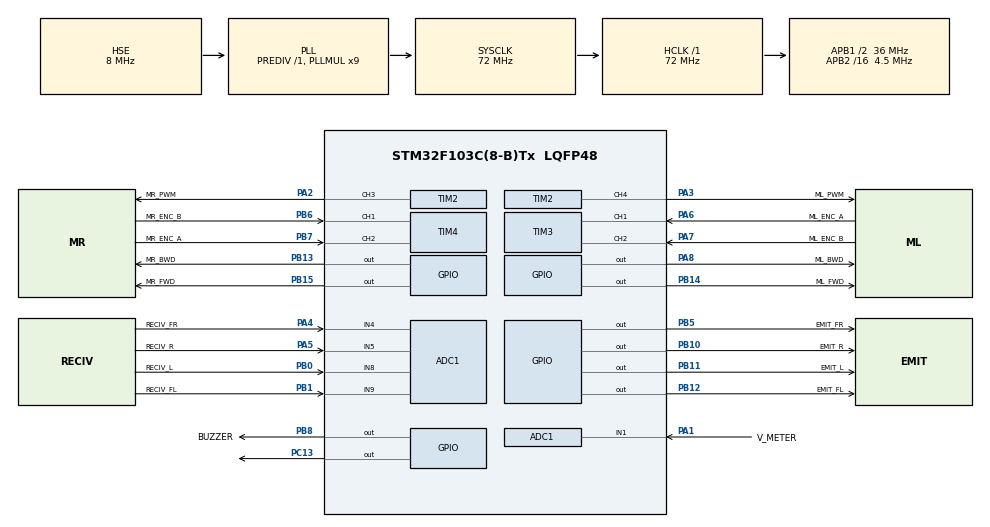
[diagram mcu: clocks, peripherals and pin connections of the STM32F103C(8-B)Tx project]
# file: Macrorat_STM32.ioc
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ADC1.Channel-0\#ChannelRegularConversion=ADC_CHANNEL_9
ADC1.NbrOfConversionFlag=1
ADC1.Rank-0\#ChannelRegularConversion=1
ADC1.SamplingTime-0\#ChannelRegularConversion=ADC_SAMPLETIME_1CYCLE_5
ADC1.master=1
Mcu.Family=STM32F1
Mcu.Name=STM32F103C(8-B)Tx
Mcu.Package=LQFP48
NVIC.PriorityGroup=NVIC_PRIORITYGROUP_4
NVIC.TIM2_IRQn=true\:15\:0\:true\:false\:true\:true\:true\:true
NVIC.TIM3_IRQn=true\:0\:0\:true\:false\:true\:true\:true\:true
NVIC.TIM4_IRQn=true\:0\:0\:true\:false\:true\:true\:true\:true
PA1.GPIO_Label=V_METER
PA1.Signal=ADCx_IN1
PA13.Mode=Serial_Wire
PA13.Signal=SYS_JTMS-SWDIO
PA14.Mode=Serial_Wire
PA14.Signal=SYS_JTCK-SWCLK
PA2.GPIO_Label=MR_PWM
PA2.Signal=S_TIM2_CH3
PA3.GPIO_Label=ML_PWM
PA3.Signal=S_TIM2_CH4
PA4.GPIO_Label=RECIV_FR
PA4.Signal=ADCx_IN4
PA5.GPIO_Label=RECIV_R
PA5.Signal=ADCx_IN5
PA6.GPIO_Label=ML_ENC_A
PA6.Signal=S_TIM3_CH1
PA7.GPIO_Label=ML_ENC_B
PA7.Signal=S_TIM3_CH2
PA8.GPIO_Label=ML_BWD
PA8.Signal=GPIO_Output
PB0.GPIO_Label=RECIV_L
PB0.Signal=ADCx_IN8
PB1.GPIO_Label=RECIV_FL
PB1.Signal=ADCx_IN9
PB10.GPIO_Label=EMIT_R
PB10.Signal=GPIO_Output
PB11.GPIO_Label=EMIT_L
PB11.Signal=GPIO_Output
PB12.GPIO_Label=EMIT_FL
PB12.Signal=GPIO_Output
PB13.GPIO_Label=MR_BWD
PB13.Signal=GPIO_Output
PB14.GPIO_Label=ML_FWD
PB14.Signal=GPIO_Output
PB15.GPIO_Label=MR_FWD
PB15.Signal=GPIO_Output
PB5.GPIO_Label=EMIT_FR
PB5.Signal=GPIO_Output
PB6.GPIO_Label=MR_ENC_B
PB6.Signal=S_TIM4_CH1
PB7.GPIO_Label=MR_ENC_A
PB7.Signal=S_TIM4_CH2
PB8.GPIO_Label=BUZZER
PB8.Signal=GPIO_Output
PC13-TAMPER-RTC.Signal=GPIO_Output
PD0-OSC_IN.Mode=HSE-External-Oscillator
PD0-OSC_IN.Signal=RCC_OSC_IN
PD1-OSC_OUT.Mode=HSE-External-Oscillator
PD1-OSC_OUT.Signal=RCC_OSC_OUT
ProjectManager.HeapSize=0x200
ProjectManager.StackSize=0x400
ProjectManager.TargetToolchain=STM32CubeIDE
RCC.AHBFreq_Value=72000000
RCC.APB1CLKDivider=RCC_HCLK_DIV2
RCC.APB1Freq_Value=36000000
RCC.APB1TimFreq_Value=72000000
RCC.APB2CLKDivider=RCC_HCLK_DIV16
RCC.APB2Freq_Value=4500000
RCC.APB2TimFreq_Value=9000000
RCC.HCLKFreq_Value=72000000
RCC.PLLMUL=RCC_PLL_MUL9
RCC.PLLSourceVirtual=RCC_PLLSOURCE_HSE
RCC.SYSCLKFreq_VALUE=72000000
RCC.SYSCLKSource=RCC_SYSCLKSOURCE_PLLCLK
RCC.USBFreq_Value=72000000
SH.ADCx_IN1.0=ADC1_IN1,IN1
SH.ADCx_IN4.0=ADC1_IN4,IN4
SH.ADCx_IN5.0=ADC1_IN5,IN5
SH.ADCx_IN8.0=ADC1_IN8,IN8
SH.ADCx_IN9.0=ADC1_IN9,IN9
SH.S_TIM2_CH3.0=TIM2_CH3,PWM Generation3 CH3
SH.S_TIM2_CH4.0=TIM2_CH4,PWM Generation4 CH4
SH.S_TIM3_CH1.0=TIM3_CH1,Encoder_Interface
SH.S_TIM3_CH2.0=TIM3_CH2,Encoder_Interface
SH.S_TIM4_CH1.0=TIM4_CH1,Encoder_Interface
SH.S_TIM4_CH2.0=TIM4_CH2,Encoder_Interface
TIM2.AutoReloadPreload=TIM_AUTORELOAD_PRELOAD_ENABLE
TIM2.Channel-PWM\ Generation3\ CH3=TIM_CHANNEL_3
TIM2.Channel-PWM\ Generation4\ CH4=TIM_CHANNEL_4
TIM2.Period=1000
TIM2.Prescaler=72
TIM2.Pulse-PWM\ Generation3\ CH3=1024
TIM2.Pulse-PWM\ Generation4\ CH4=1024
TIM3.EncoderMode=TIM_ENCODERMODE_TI12
TIM3.IC1Polarity=TIM_ICPOLARITY_FALLING
TIM3.IC2Polarity=TIM_ICPOLARITY_FALLING
TIM4.EncoderMode=TIM_ENCODERMODE_TI12
TIM4.IC1Polarity=TIM_ICPOLARITY_FALLING
TIM4.IC2Polarity=TIM_ICPOLARITY_FALLING
VP_TIM2_VS_ClockSourceINT.Mode=Internal
board=custom

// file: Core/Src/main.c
/* USER CODE BEGIN Header */
/**
  ******************************************************************************
  * @file           : main.c
  * @brief          : Main program body
  ******************************************************************************
  * @attention
  *
  * Copyright (c) 2023 STMicroelectronics.
  * All rights reserved.
  *
  * This software is licensed under terms that can be found in the LICENSE file
  * in the root directory of this software component.
  * If no LICENSE file comes with this software, it is provided AS-IS.
  *
  ******************************************************************************
  */
/* USER CODE END Header */
#include "main.h"

/* USER CODE BEGIN Includes */
#include <math.h>
#include <stdio.h>
#include <stdlib.h>
#include <string.h>
/* USER CODE END Includes */

/* USER CODE BEGIN PTD */
typedef enum {
	FL,
	L,
	R,
	FR
} dist_t;

typedef enum {
	stopped,
	forward,
	turn_L,
	turn_R,
	turn_180
} move_t;
/* USER CODE END PTD */

/* USER CODE BEGIN PD */
#define diameter 40		// wheel diameter
#define RW 41			// radius from center to wheel
#define v_ratio 0.00082
#define max_v_batt 8.10
#define kickstart_v 0.8
#define callback_period 0.001
#define intended_speed 180.0

#define K_fwd 0.1
#define K_rot 0.004
#define K_turn 0.01
#define K_str 0.0004

#define loop_period 1

/* USER CODE END PD */

ADC_HandleTypeDef hadc1;

TIM_HandleTypeDef htim2;
TIM_HandleTypeDef htim3;
TIM_HandleTypeDef htim4;

/* USER CODE BEGIN PV */
uint16_t IR_dists[4] = {0};
uint16_t IR_data[4][15] = {{0}};
uint16_t wall_standard[4] = {2500, 1040, 1030, 2590};
uint16_t wall_nominal[4] = {200, 100, 100, 200};

int wall_left;
int wall_right;
int wall_front_L;
int wall_front_R;

int32_t enc_left = 0;
int32_t enc_right = 0;
int32_t initial_enc_left = 0;
int32_t initial_enc_right = 0;

int32_t d_L = 0;
int32_t d_R = 0;
int32_t d_center = 0;	// center distance
int32_t prev_d_center = 0;
int32_t prev_cell_distance = 0;

int32_t fwd_error = 0;
int32_t rot_error = 0;
int32_t str_error = 0;
int32_t left_side_error = 0;
int32_t right_side_error = 0;

int32_t angle = 0;
int32_t initial_angle = 0;
uint16_t raw_count_left = 0;
uint16_t raw_count_right = 0;
uint16_t prev_count_left = 0;
uint16_t prev_count_right = 0;
int motorL = 0;
int motorR = 0;

// this change better register
const float base_v_fwd_L = 0.5;
const float base_v_fwd_R = 0;
const float base_v_turn_L = 0.7;//0.48;
const float base_v_turn_R = 0.81;//0.82;
//const float base_v_turn = 1.5;
int fwd_movement = 0;
int enc_right_mvt = 0;
int enc_left_mvt = 0;

int new_PWM = 0;
float new_v_motor_L = 0;
float new_v_motor_R = 0;
int motor_PWM = 0;
int x = 0;
int y = 0;
int z = 0;

uint16_t battery_reading = 0;
float v_batt = 0;
float initial_v_batt = 0;

int intended_distance = intended_speed * callback_period;
int time_count = 0;

int intended_angle = 0;

move_t movement = stopped;

// const int K_fwd = ?;
// testing to merge into main here
// hello Github
/* USER CODE END PV */

void SystemClock_Config(void);
static void MX_GPIO_Init(void);
static void MX_TIM2_Init(void);
static void MX_ADC1_Init(void);
static void MX_TIM3_Init(void);
static void MX_TIM4_Init(void);
/* USER CODE BEGIN PFP */
static void ADC1_Select_CH1(void);
static void ADC1_Select_CH4(void);
static void ADC1_Select_CH5(void);
static void ADC1_Select_CH8(void);
static void ADC1_Select_CH9(void);
/* USER CODE END PFP */

/* USER CODE BEGIN 0 */
uint16_t measure_dist(dist_t dist) {
	GPIO_TypeDef* emitter_port;
	uint16_t emitter_pin;
	GPIO_TypeDef* receiver_port;
	uint16_t receiver_pin;

	switch(dist) {
		case FL:
			emitter_port = EMIT_FL_GPIO_Port;
			emitter_pin = EMIT_FL_Pin;
			receiver_port = RECIV_FL_GPIO_Port;
			receiver_pin = RECIV_FL_Pin;
			ADC1_Select_CH9();
			break;
		case L:
			emitter_port = EMIT_L_GPIO_Port;
			emitter_pin = EMIT_L_Pin;
			receiver_port = RECIV_L_GPIO_Port;
			receiver_pin = RECIV_L_Pin;
			ADC1_Select_CH8();
			break;
		case R:
			emitter_port = EMIT_R_GPIO_Port;
			emitter_pin = EMIT_R_Pin;
			receiver_port = RECIV_R_GPIO_Port;
			receiver_pin = RECIV_R_Pin;
			ADC1_Select_CH5();
			break;
		case FR:
			emitter_port = EMIT_FR_GPIO_Port;
			emitter_pin = EMIT_FR_Pin;
			receiver_port = RECIV_FR_GPIO_Port;
			receiver_pin = RECIV_FR_Pin;
			ADC1_Select_CH4();
			break;
		default:
			break;
	}

	HAL_GPIO_WritePin(emitter_port, emitter_pin, GPIO_PIN_SET);
//	HAL_Delay(5);

	HAL_ADC_Start(&hadc1);
	HAL_ADC_PollForConversion(&hadc1, HAL_MAX_DELAY);
	uint16_t adc_val = HAL_ADC_GetValue(&hadc1);
	HAL_ADC_Stop(&hadc1);

	HAL_GPIO_WritePin(emitter_port, emitter_pin, GPIO_PIN_RESET);

	return adc_val;
}

uint16_t scaled_average(dist_t sensor)	// dist tells us which sensor's distance we are measuring
{
	static int IR_index = 0;

	IR_data[sensor][IR_index] = measure_dist(sensor); // puts newest distance into array

	int sum = 0;

	for (int i = 0; i < 15; i++)
	{
		sum += IR_data[sensor][i];
	}

	IR_index = (IR_index + 1) % 15;

	return (sum / 15.0) * (wall_nominal[sensor] / (float)(wall_standard[sensor]));
}

float calc_v_batt()
{
	ADC1_Select_CH1();

	HAL_ADC_Start(&hadc1);
	HAL_ADC_PollForConversion(&hadc1, HAL_MAX_DELAY);
	battery_reading = HAL_ADC_GetValue(&hadc1);
	HAL_ADC_Stop(&hadc1);

	// multiply by ratio to convert to V, then multiply by 3
    return battery_reading * v_ratio * 3;
    //return adc_val;//battery scale = 1206
//	v_meter = measure_battery(BATTERY);
//	fl_v_meter = (float)(v_meter)/1206;
//	fl_batt_volt = (float)(v_meter*3)/1206;
    //batt volt obtained through voltage division

}

int calc_PWM(float voltage)
{
	v_batt = calc_v_batt();
	return (voltage/v_batt)*2047;
}

int calc_distance()
{
	return (d_L + d_R)/2;
}

int calc_angle()
{
	return (int)((d_R - d_L)/(2.0 * RW) * (180.0/M_PI));
}

void HAL_TIM_IC_CaptureCallback(TIM_HandleTypeDef *htim) {
	// this is the left encoder timer
	if (htim->Instance == TIM3) {
		//enc_left = __HAL_TIM_GET_COUNTER(htim);
		raw_count_left = __HAL_TIM_GET_COUNTER(htim);
		enc_left -= (int16_t)(raw_count_left - prev_count_left);
		d_L = (enc_left / 360.0) * (M_PI * diameter);
		d_center = calc_distance();	// updates distance whenever d_L changes
		angle = calc_angle();

		prev_count_left = raw_count_left;
	}
	if (htim->Instance == TIM4) {
		//enc_right = __HAL_TIM_GET_COUNTER(htim);
		raw_count_right = __HAL_TIM_GET_COUNTER(htim);
		enc_right -= (int16_t)(raw_count_right - prev_count_right);
		d_R = (enc_right / 360.0) * (M_PI * diameter);
		d_center = calc_distance();
		angle = calc_angle();

		prev_count_right = raw_count_right;
	}
}

void IR_scan()
{
	dist_t sensor = FL;

	do
	{
		IR_dists[sensor] = scaled_average(sensor);
		sensor = (sensor + 1) % 4;
	} while (sensor != FL);
}

int wallCheck(dist_t sensor)
{
	if (IR_dists[sensor] > 0.5 * wall_nominal[sensor])
	{
		return 1;
	}
	else
	{
		return 0;
	}
}

float within_bounds(float f)
{
	if (f < 0)
	{
		return 0;
	}
	else if (f > 1.5)
	{
		return 1.5;
	}
	else
	{
		return f;
	}
}

void kickstart_motors()
{
	motor_PWM = calc_PWM(kickstart_v);

	TIM2->CCR4 = motor_PWM;
	TIM2->CCR3 = motor_PWM;

	HAL_GPIO_WritePin(ML_FWD_GPIO_Port, ML_FWD_Pin, 1);
	HAL_GPIO_WritePin(ML_BWD_GPIO_Port, ML_BWD_Pin, 0);
	HAL_GPIO_WritePin(MR_FWD_GPIO_Port, MR_FWD_Pin, 0);
	HAL_GPIO_WritePin(MR_BWD_GPIO_Port, MR_BWD_Pin, 0);

	HAL_Delay(50);
}

void stop()
{
	movement = stopped;

	// set both motors to stop
	HAL_GPIO_WritePin(ML_FWD_GPIO_Port, ML_FWD_Pin, 0);
	HAL_GPIO_WritePin(ML_BWD_GPIO_Port, ML_BWD_Pin, 0);
	HAL_GPIO_WritePin(MR_FWD_GPIO_Port, MR_FWD_Pin, 0);
	HAL_GPIO_WritePin(MR_BWD_GPIO_Port, MR_BWD_Pin, 0);

	TIM2->CCR4 = 0;
	TIM2->CCR3 = 0;
}

void move_forward()
{
	movement = forward;

	prev_cell_distance = d_center;

//	TIM2->CCR4 = calc_PWM(base_v_fwd_L);
//	TIM2->CCR3 = calc_PWM(base_v_fwd_R);

	// set both motors to move forward
	HAL_GPIO_WritePin(ML_FWD_GPIO_Port, ML_FWD_Pin, 1);
	HAL_GPIO_WritePin(ML_BWD_GPIO_Port, ML_BWD_Pin, 0);
	HAL_GPIO_WritePin(MR_FWD_GPIO_Port, MR_FWD_Pin, 1);
	HAL_GPIO_WritePin(MR_BWD_GPIO_Port, MR_BWD_Pin, 0);

	while (1)
	{
		if ((d_center - prev_cell_distance >= 180) || (wallCheck(FL) && wallCheck(FR)))
		{
			x = 10;
			break;
		}
	}

	HAL_GPIO_TogglePin(GPIOC, GPIO_PIN_13);
	stop();
	//HAL_Delay(1000);
}

void left_turn()
{
	HAL_Delay(500);

	intended_angle  = intended_angle + 90;
	movement = turn_L;

	initial_angle = angle;
	initial_enc_left = enc_left;
	initial_enc_right = enc_right;

	// set left motor to backward and right motor to forward
	HAL_GPIO_WritePin(ML_FWD_GPIO_Port, ML_FWD_Pin, 0);
	HAL_GPIO_WritePin(ML_BWD_GPIO_Port, ML_BWD_Pin, 1);
	HAL_GPIO_WritePin(MR_FWD_GPIO_Port, MR_FWD_Pin, 1);
	HAL_GPIO_WritePin(MR_BWD_GPIO_Port, MR_BWD_Pin, 0);

	while (1)
	{
	  if (abs(angle - initial_angle) >= 90)
	  {
		 break;
	  }
	}

	HAL_GPIO_TogglePin(GPIOC, GPIO_PIN_13);
	stop();
	HAL_Delay(500);
}

void right_turn()
{
	HAL_Delay(500);

	intended_angle  = intended_angle - 90;
	movement = turn_R;

	initial_angle = angle;

	// set left motor to forward and right motor to backward
	HAL_GPIO_WritePin(ML_FWD_GPIO_Port, ML_FWD_Pin, 1);
	HAL_GPIO_WritePin(ML_BWD_GPIO_Port, ML_BWD_Pin, 0);
	HAL_GPIO_WritePin(MR_FWD_GPIO_Port, MR_FWD_Pin, 0);
	HAL_GPIO_WritePin(MR_BWD_GPIO_Port, MR_BWD_Pin, 1);

	while (1)
	{
	  if (abs(angle - initial_angle) >= 90)
	  {
		 break;
	  }
	}

	HAL_GPIO_TogglePin(GPIOC, GPIO_PIN_13);
	stop();
	HAL_Delay(500);
}

void about_turn()		// I swear this is a real term
{
	HAL_Delay(500);

	intended_angle = intended_angle + 180;
	movement = turn_180;

	initial_angle = angle;

	// set left motor to backward and right motor to forward
	HAL_GPIO_WritePin(ML_FWD_GPIO_Port, ML_FWD_Pin, 0);
	HAL_GPIO_WritePin(ML_BWD_GPIO_Port, ML_BWD_Pin, 1);
	HAL_GPIO_WritePin(MR_FWD_GPIO_Port, MR_FWD_Pin, 1);
	HAL_GPIO_WritePin(MR_BWD_GPIO_Port, MR_BWD_Pin, 0);

	while (1)
	{
	  if (abs(angle - initial_angle) >= 180)
	  {
		 break;
	  }
	}

	HAL_GPIO_TogglePin(GPIOC, GPIO_PIN_13);
	stop();
	HAL_Delay(500);
}
/* USER CODE END 0 */

int main(void)
{

  /* MCU Configuration--------------------------------------------------------*/

  /* Reset of all peripherals, Initializes the Flash interface and the Systick. */
  HAL_Init();

  /* Configure the system clock */
  SystemClock_Config();

  /* Initialize all configured peripherals */
  MX_GPIO_Init();
  MX_TIM2_Init();
  MX_ADC1_Init();
  MX_TIM3_Init();
  MX_TIM4_Init();
  /* USER CODE BEGIN 2 */
  HAL_TIM_Base_Start_IT(&htim2);		// start timer 2 in interrupt mode

  HAL_TIM_PWM_Start(&htim2, TIM_CHANNEL_3);
  HAL_TIM_PWM_Start(&htim2, TIM_CHANNEL_4);

  HAL_TIM_Encoder_Start_IT(&htim3, TIM_CHANNEL_ALL);
  HAL_TIM_Encoder_Start_IT(&htim4, TIM_CHANNEL_ALL);

  HAL_GPIO_WritePin(BUZZER_GPIO_Port, BUZZER_Pin, 0);	//turn off buzzer?

  HAL_Delay(500);

  kickstart_motors();

  TIM2->CCR4 = calc_PWM(base_v_fwd_L);
  TIM2->CCR3 = calc_PWM(base_v_fwd_R);

  HAL_GPIO_WritePin(ML_FWD_GPIO_Port, ML_FWD_Pin, 1);
  HAL_GPIO_WritePin(ML_BWD_GPIO_Port, ML_BWD_Pin, 0);
  HAL_GPIO_WritePin(MR_FWD_GPIO_Port, MR_FWD_Pin, 1);
  HAL_GPIO_WritePin(MR_BWD_GPIO_Port, MR_BWD_Pin, 0);

  /* USER CODE END 2 */

  /* Infinite loop */
  /* USER CODE BEGIN WHILE */

  while (1)
  {
//	  if (d_center > 10)
//	  {
//		  break;
//	  }
    /* USER CODE END WHILE */

    /* USER CODE BEGIN 3 */
  }

  HAL_GPIO_WritePin(ML_FWD_GPIO_Port, ML_FWD_Pin, 0);
  HAL_GPIO_WritePin(ML_BWD_GPIO_Port, ML_BWD_Pin, 0);
  HAL_GPIO_WritePin(MR_FWD_GPIO_Port, MR_FWD_Pin, 0);
  HAL_GPIO_WritePin(MR_BWD_GPIO_Port, MR_BWD_Pin, 0);

  /* USER CODE END 3 */
}

void SystemClock_Config(void)
{
  RCC_OscInitTypeDef RCC_OscInitStruct = {0};
  RCC_ClkInitTypeDef RCC_ClkInitStruct = {0};
  RCC_PeriphCLKInitTypeDef PeriphClkInit = {0};

  /** Initializes the RCC Oscillators according to the specified parameters
  * in the RCC_OscInitTypeDef structure.
  */
  RCC_OscInitStruct.OscillatorType = RCC_OSCILLATORTYPE_HSE;
  RCC_OscInitStruct.HSEState = RCC_HSE_ON;
  RCC_OscInitStruct.HSEPredivValue = RCC_HSE_PREDIV_DIV1;
  RCC_OscInitStruct.HSIState = RCC_HSI_ON;
  RCC_OscInitStruct.PLL.PLLState = RCC_PLL_ON;
  RCC_OscInitStruct.PLL.PLLSource = RCC_PLLSOURCE_HSE;
  RCC_OscInitStruct.PLL.PLLMUL = RCC_PLL_MUL9;
  if (HAL_RCC_OscConfig(&RCC_OscInitStruct) != HAL_OK)
  {
    Error_Handler();
  }

  /** Initializes the CPU, AHB and APB buses clocks
  */
  RCC_ClkInitStruct.ClockType = RCC_CLOCKTYPE_HCLK|RCC_CLOCKTYPE_SYSCLK
                              |RCC_CLOCKTYPE_PCLK1|RCC_CLOCKTYPE_PCLK2;
  RCC_ClkInitStruct.SYSCLKSource = RCC_SYSCLKSOURCE_PLLCLK;
  RCC_ClkInitStruct.AHBCLKDivider = RCC_SYSCLK_DIV1;
  RCC_ClkInitStruct.APB1CLKDivider = RCC_HCLK_DIV2;
  RCC_ClkInitStruct.APB2CLKDivider = RCC_HCLK_DIV16;

  if (HAL_RCC_ClockConfig(&RCC_ClkInitStruct, FLASH_LATENCY_2) != HAL_OK)
  {
    Error_Handler();
  }
  PeriphClkInit.PeriphClockSelection = RCC_PERIPHCLK_ADC;
  PeriphClkInit.AdcClockSelection = RCC_ADCPCLK2_DIV2;
  if (HAL_RCCEx_PeriphCLKConfig(&PeriphClkInit) != HAL_OK)
  {
    Error_Handler();
  }
}

static void MX_ADC1_Init(void)
{

  ADC_ChannelConfTypeDef sConfig = {0};

  /** Common config
  */
  hadc1.Instance = ADC1;
  hadc1.Init.ScanConvMode = ADC_SCAN_DISABLE;
  hadc1.Init.ContinuousConvMode = DISABLE;
  hadc1.Init.DiscontinuousConvMode = DISABLE;
  hadc1.Init.ExternalTrigConv = ADC_SOFTWARE_START;
  hadc1.Init.DataAlign = ADC_DATAALIGN_RIGHT;
  hadc1.Init.NbrOfConversion = 1;
  if (HAL_ADC_Init(&hadc1) != HAL_OK)
  {
    Error_Handler();
  }

  /** Configure Regular Channel
  */
  sConfig.Channel = ADC_CHANNEL_9;
  sConfig.Rank = ADC_REGULAR_RANK_1;
  sConfig.SamplingTime = ADC_SAMPLETIME_1CYCLE_5;
  if (HAL_ADC_ConfigChannel(&hadc1, &sConfig) != HAL_OK)
  {
    Error_Handler();
  }

}

static void MX_TIM2_Init(void)
{

  TIM_ClockConfigTypeDef sClockSourceConfig = {0};
  TIM_MasterConfigTypeDef sMasterConfig = {0};
  TIM_OC_InitTypeDef sConfigOC = {0};

  htim2.Instance = TIM2;
  htim2.Init.Prescaler = 72;
  htim2.Init.CounterMode = TIM_COUNTERMODE_UP;
  htim2.Init.Period = 1000;
  htim2.Init.ClockDivision = TIM_CLOCKDIVISION_DIV1;
  htim2.Init.AutoReloadPreload = TIM_AUTORELOAD_PRELOAD_ENABLE;
  if (HAL_TIM_Base_Init(&htim2) != HAL_OK)
  {
    Error_Handler();
  }
  sClockSourceConfig.ClockSource = TIM_CLOCKSOURCE_INTERNAL;
  if (HAL_TIM_ConfigClockSource(&htim2, &sClockSourceConfig) != HAL_OK)
  {
    Error_Handler();
  }
  if (HAL_TIM_PWM_Init(&htim2) != HAL_OK)
  {
    Error_Handler();
  }
  sMasterConfig.MasterOutputTrigger = TIM_TRGO_RESET;
  sMasterConfig.MasterSlaveMode = TIM_MASTERSLAVEMODE_DISABLE;
  if (HAL_TIMEx_MasterConfigSynchronization(&htim2, &sMasterConfig) != HAL_OK)
  {
    Error_Handler();
  }
  sConfigOC.OCMode = TIM_OCMODE_PWM1;
  sConfigOC.Pulse = 1024;
  sConfigOC.OCPolarity = TIM_OCPOLARITY_HIGH;
  sConfigOC.OCFastMode = TIM_OCFAST_DISABLE;
  if (HAL_TIM_PWM_ConfigChannel(&htim2, &sConfigOC, TIM_CHANNEL_3) != HAL_OK)
  {
    Error_Handler();
  }
  if (HAL_TIM_PWM_ConfigChannel(&htim2, &sConfigOC, TIM_CHANNEL_4) != HAL_OK)
  {
    Error_Handler();
  }
  HAL_TIM_MspPostInit(&htim2);

}

static void MX_TIM3_Init(void)
{

  TIM_Encoder_InitTypeDef sConfig = {0};
  TIM_MasterConfigTypeDef sMasterConfig = {0};

  htim3.Instance = TIM3;
  htim3.Init.Prescaler = 0;
  htim3.Init.CounterMode = TIM_COUNTERMODE_UP;
  htim3.Init.Period = 65535;
  htim3.Init.ClockDivision = TIM_CLOCKDIVISION_DIV1;
  htim3.Init.AutoReloadPreload = TIM_AUTORELOAD_PRELOAD_DISABLE;
  sConfig.EncoderMode = TIM_ENCODERMODE_TI12;
  sConfig.IC1Polarity = TIM_ICPOLARITY_FALLING;
  sConfig.IC1Selection = TIM_ICSELECTION_DIRECTTI;
  sConfig.IC1Prescaler = TIM_ICPSC_DIV1;
  sConfig.IC1Filter = 0;
  sConfig.IC2Polarity = TIM_ICPOLARITY_FALLING;
  sConfig.IC2Selection = TIM_ICSELECTION_DIRECTTI;
  sConfig.IC2Prescaler = TIM_ICPSC_DIV1;
  sConfig.IC2Filter = 0;
  if (HAL_TIM_Encoder_Init(&htim3, &sConfig) != HAL_OK)
  {
    Error_Handler();
  }
  sMasterConfig.MasterOutputTrigger = TIM_TRGO_RESET;
  sMasterConfig.MasterSlaveMode = TIM_MASTERSLAVEMODE_DISABLE;
  if (HAL_TIMEx_MasterConfigSynchronization(&htim3, &sMasterConfig) != HAL_OK)
  {
    Error_Handler();
  }

}

static void MX_TIM4_Init(void)
{

  TIM_Encoder_InitTypeDef sConfig = {0};
  TIM_MasterConfigTypeDef sMasterConfig = {0};

  htim4.Instance = TIM4;
  htim4.Init.Prescaler = 0;
  htim4.Init.CounterMode = TIM_COUNTERMODE_UP;
  htim4.Init.Period = 65535;
  htim4.Init.ClockDivision = TIM_CLOCKDIVISION_DIV1;
  htim4.Init.AutoReloadPreload = TIM_AUTORELOAD_PRELOAD_DISABLE;
  sConfig.EncoderMode = TIM_ENCODERMODE_TI12;
  sConfig.IC1Polarity = TIM_ICPOLARITY_FALLING;
  sConfig.IC1Selection = TIM_ICSELECTION_DIRECTTI;
  sConfig.IC1Prescaler = TIM_ICPSC_DIV1;
  sConfig.IC1Filter = 0;
  sConfig.IC2Polarity = TIM_ICPOLARITY_FALLING;
  sConfig.IC2Selection = TIM_ICSELECTION_DIRECTTI;
  sConfig.IC2Prescaler = TIM_ICPSC_DIV1;
  sConfig.IC2Filter = 0;
  if (HAL_TIM_Encoder_Init(&htim4, &sConfig) != HAL_OK)
  {
    Error_Handler();
  }
  sMasterConfig.MasterOutputTrigger = TIM_TRGO_RESET;
  sMasterConfig.MasterSlaveMode = TIM_MASTERSLAVEMODE_DISABLE;
  if (HAL_TIMEx_MasterConfigSynchronization(&htim4, &sMasterConfig) != HAL_OK)
  {
    Error_Handler();
  }

}

static void MX_GPIO_Init(void)
{
  GPIO_InitTypeDef GPIO_InitStruct = {0};

  /* GPIO Ports Clock Enable */
  __HAL_RCC_GPIOC_CLK_ENABLE();
  __HAL_RCC_GPIOD_CLK_ENABLE();
  __HAL_RCC_GPIOA_CLK_ENABLE();
  __HAL_RCC_GPIOB_CLK_ENABLE();

  /*Configure GPIO pin Output Level */
  HAL_GPIO_WritePin(GPIOC, GPIO_PIN_13, GPIO_PIN_RESET);

  /*Configure GPIO pin Output Level */
  HAL_GPIO_WritePin(GPIOB, EMIT_R_Pin|EMIT_L_Pin|EMIT_FL_Pin|MR_BWD_Pin
                          |ML_FWD_Pin|MR_FWD_Pin|EMIT_FR_Pin|BUZZER_Pin, GPIO_PIN_RESET);

  /*Configure GPIO pin Output Level */
  HAL_GPIO_WritePin(ML_BWD_GPIO_Port, ML_BWD_Pin, GPIO_PIN_RESET);

  /*Configure GPIO pin : PC13 */
  GPIO_InitStruct.Pin = GPIO_PIN_13;
  GPIO_InitStruct.Mode = GPIO_MODE_OUTPUT_PP;
  GPIO_InitStruct.Pull = GPIO_NOPULL;
  GPIO_InitStruct.Speed = GPIO_SPEED_FREQ_LOW;
  HAL_GPIO_Init(GPIOC, &GPIO_InitStruct);

  /*Configure GPIO pins : EMIT_R_Pin EMIT_L_Pin EMIT_FL_Pin MR_BWD_Pin
                           ML_FWD_Pin MR_FWD_Pin EMIT_FR_Pin BUZZER_Pin */
  GPIO_InitStruct.Pin = EMIT_R_Pin|EMIT_L_Pin|EMIT_FL_Pin|MR_BWD_Pin
                          |ML_FWD_Pin|MR_FWD_Pin|EMIT_FR_Pin|BUZZER_Pin;
  GPIO_InitStruct.Mode = GPIO_MODE_OUTPUT_PP;
  GPIO_InitStruct.Pull = GPIO_NOPULL;
  GPIO_InitStruct.Speed = GPIO_SPEED_FREQ_LOW;
  HAL_GPIO_Init(GPIOB, &GPIO_InitStruct);

  /*Configure GPIO pin : ML_BWD_Pin */
  GPIO_InitStruct.Pin = ML_BWD_Pin;
  GPIO_InitStruct.Mode = GPIO_MODE_OUTPUT_PP;
  GPIO_InitStruct.Pull = GPIO_NOPULL;
  GPIO_InitStruct.Speed = GPIO_SPEED_FREQ_LOW;
  HAL_GPIO_Init(ML_BWD_GPIO_Port, &GPIO_InitStruct);

}

/* USER CODE BEGIN 4 */
int _write(int file, char *ptr, int len)
{
  (void)file;
  int DataIdx;

  for (DataIdx = 0; DataIdx < len; DataIdx++)
  {
    ITM_SendChar(*ptr++);
  }
  return len;
}

static void ADC1_Select_CH1(void) {
	ADC_ChannelConfTypeDef sConfig = {0};

	sConfig.Channel = ADC_CHANNEL_1;
	sConfig.Rank = ADC_REGULAR_RANK_1;
	sConfig.SamplingTime = ADC_SAMPLETIME_7CYCLES_5;
	if (HAL_ADC_ConfigChannel(&hadc1, &sConfig) != HAL_OK)
	{
		Error_Handler();
	}
}

static void ADC1_Select_CH4(void) {
	ADC_ChannelConfTypeDef sConfig = {0};

	sConfig.Channel = ADC_CHANNEL_4;
	sConfig.Rank = ADC_REGULAR_RANK_1;
	sConfig.SamplingTime = ADC_SAMPLETIME_7CYCLES_5;
	if (HAL_ADC_ConfigChannel(&hadc1, &sConfig) != HAL_OK)
	{
		Error_Handler();
	}
}

static void ADC1_Select_CH5(void) {
	ADC_ChannelConfTypeDef sConfig = {0};

	sConfig.Channel = ADC_CHANNEL_5;
	sConfig.Rank = ADC_REGULAR_RANK_1;
	sConfig.SamplingTime = ADC_SAMPLETIME_7CYCLES_5;
	if (HAL_ADC_ConfigChannel(&hadc1, &sConfig) != HAL_OK)
	{
		Error_Handler();
	}
}

static void ADC1_Select_CH8(void) {
	ADC_ChannelConfTypeDef sConfig = {0};

	sConfig.Channel = ADC_CHANNEL_8;
	sConfig.Rank = ADC_REGULAR_RANK_1;
	sConfig.SamplingTime = ADC_SAMPLETIME_7CYCLES_5;
	if (HAL_ADC_ConfigChannel(&hadc1, &sConfig) != HAL_OK)
	{
		Error_Handler();
	}
}

static void ADC1_Select_CH9(void) {
	ADC_ChannelConfTypeDef sConfig = {0};

	sConfig.Channel = ADC_CHANNEL_9;
	sConfig.Rank = ADC_REGULAR_RANK_1;
	sConfig.SamplingTime = ADC_SAMPLETIME_7CYCLES_5;
	if (HAL_ADC_ConfigChannel(&hadc1, &sConfig) != HAL_OK)
	{
		Error_Handler();
	}
}

void HAL_TIM_PeriodElapsedCallback(TIM_HandleTypeDef* htim) {
	if (time_count % ((int)(callback_period * 1000)) == 0)
	{
		IR_scan();

		switch(movement)
		{
			case stopped:
				break;
			case forward:
				y = 6;
				fwd_movement = d_center - prev_d_center;

				// find the difference between intended distance and actual distance
				fwd_error = fwd_movement - intended_distance;

				left_side_error = wall_nominal[L] - IR_dists[L];
				right_side_error = wall_nominal[R] - IR_dists[R];

				if (wallCheck(L) && wallCheck(R))
				{
					str_error = right_side_error - left_side_error;
					rot_error = 0;
				}
				else if (wallCheck(L) && !wallCheck(R))
				{
					str_error = -2 * left_side_error;
					rot_error = 0;
				}
				else if (!wallCheck(L) && wallCheck(R))
				{
					str_error = 2 * right_side_error;
					rot_error = 0;
				}
				else	// no walls on either side
				{
					rot_error = (angle - intended_angle) % 360;//enc_right - enc_left; // right diff - left diff
					str_error = 0;
				}

				new_v_motor_L = within_bounds(base_v_fwd_L - K_fwd * fwd_error + K_rot * rot_error + K_str * str_error);
				new_v_motor_R = within_bounds(base_v_fwd_R - K_fwd * fwd_error - K_rot * rot_error - K_str * str_error);

				// IMPORTANT: left motor is channel 4, right motor is channel 3
				TIM2->CCR4 = calc_PWM(new_v_motor_L);
				TIM2->CCR3 = calc_PWM(new_v_motor_R);

				break;
			case turn_L:
				rot_error = (angle - intended_angle) % 360;

				new_v_motor_L = within_bounds(base_v_turn_L + K_turn * rot_error);
				new_v_motor_R = within_bounds(base_v_turn_R - K_turn * rot_error);

				TIM2->CCR4 = calc_PWM(new_v_motor_L);
				TIM2->CCR3 = calc_PWM(new_v_motor_R);
				break;
			case turn_R:
//				rot_error = enc_left + enc_right;

				new_v_motor_L = within_bounds(base_v_turn_L);// - K_turn * rot_error);
				new_v_motor_R = within_bounds(base_v_turn_R);// + K_turn * rot_error);

				TIM2->CCR4 = calc_PWM(new_v_motor_L);
				TIM2->CCR3 = calc_PWM(new_v_motor_R);
				break;
			case turn_180:
//				rot_error = enc_right + enc_left;

				new_v_motor_L = within_bounds(base_v_turn_L);// + K_turn * rot_error);
				new_v_motor_R = within_bounds(base_v_turn_R);// - K_turn * rot_error);

				TIM2->CCR4 = calc_PWM(new_v_motor_L);
				TIM2->CCR3 = calc_PWM(new_v_motor_R);
				break;
		}

		prev_d_center = d_center;
	}

	time_count++;
}
/* USER CODE END 4 */

void Error_Handler(void)
{
  __disable_irq();
  while (1)
  {
  }
}
